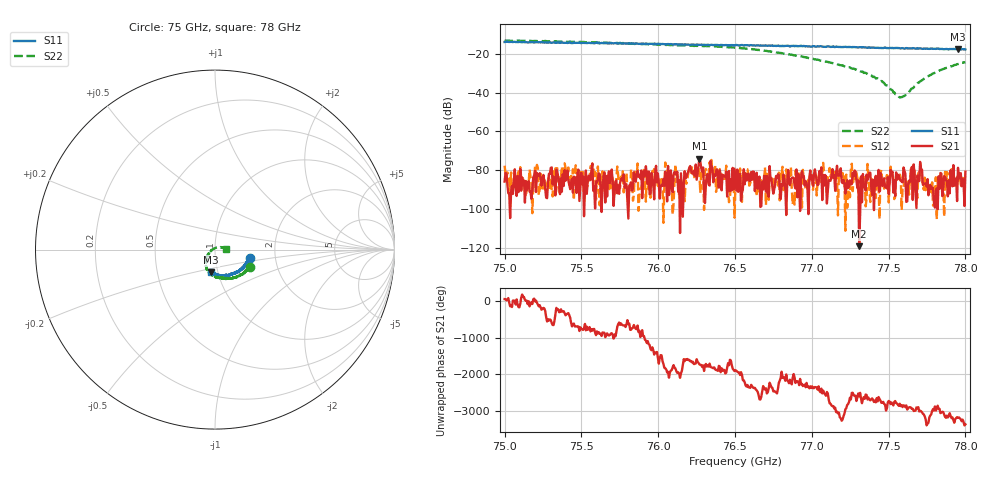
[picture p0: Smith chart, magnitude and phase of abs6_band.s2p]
# Hz S MA R 50
! CMT, C4420, 21421029, 25.1.2/3
! Date: 8/7/2025 5:32:10 PM
! Data: Format (Calibration Info)
! Freq	S33:Mag/Ang(F2)	S43:Mag/Ang(F2)	S34:Mag/Ang(F2)	S44:Mag/Ang(F2)
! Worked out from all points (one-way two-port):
!   500 points, 75 GHz to 78 GHz, reference 50 ohm
!   highest |S21| = -73.90 dB at 76.269 GHz (marker M1); lowest = -118.9 dB at 77.309 GHz (marker M2)
!   lowest |S11| = -17.9 dB at 77.952 GHz (marker M3), VSWR 1.29, Z = 46.5 - j11.9 ohm
!   |S11| at or under -10 dB: start of sweep to end of sweep
!   |S22| runs from -42.5 to -13.3 dB; largest |S21 - S12| = 0.0002
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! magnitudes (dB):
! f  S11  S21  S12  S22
! 75 GHz  -14.0  -85.7  -77.5  -13.3
! 75.018 GHz  -13.9  -87.3  -81.0  -13.3
! 75.204 GHz  -14.1  -91.1  -85.1  -13.5
! 75.234 GHz  -14.3  -83.9  -81.7  -13.5
! 75.385 GHz  -14.4  -87.9  -87.0  -13.8
! 75.505 GHz  -14.5  -87.0  -81.1  -14.1
! 75.565 GHz  -14.6  -80.0  -78.2  -14.2
! 75.625 GHz  -14.7  -90.0  -83.7  -14.3
! 76.004 GHz  -15.1  -86.9  -84.0  -15.3
! 76.226 GHz  -15.4  -81.5  -81.6  -15.9
! 76.269 GHz  -15.5  -73.9  -82.9  -16.1
! 76.311 GHz  -15.5  -87.0  -79.2  -16.1
! 76.347 GHz  -15.4  -78.1  -74.6  -16.3
! 76.371 GHz  -15.6  -82.9  -77.3  -16.4
! 76.503 GHz  -15.7  -85.0  -86.8  -17.0
! 77.002 GHz  -16.4  -82.6  -85.9  -22.6
! 77.309 GHz  -16.8  -118.9  -96.5  -28.9
! 77.501 GHz  -17.3  -92.2  -96.4  -36.9
! 77.591 GHz  -17.2  -86.1  -88.5  -42.2
! 77.747 GHz  -17.5  -88.2  -85.9  -32.1
! 77.952 GHz  -17.9  -78.6  -85.4  -25.4
! 78 GHz  -17.9  -80.7  -82.7  -24.4
